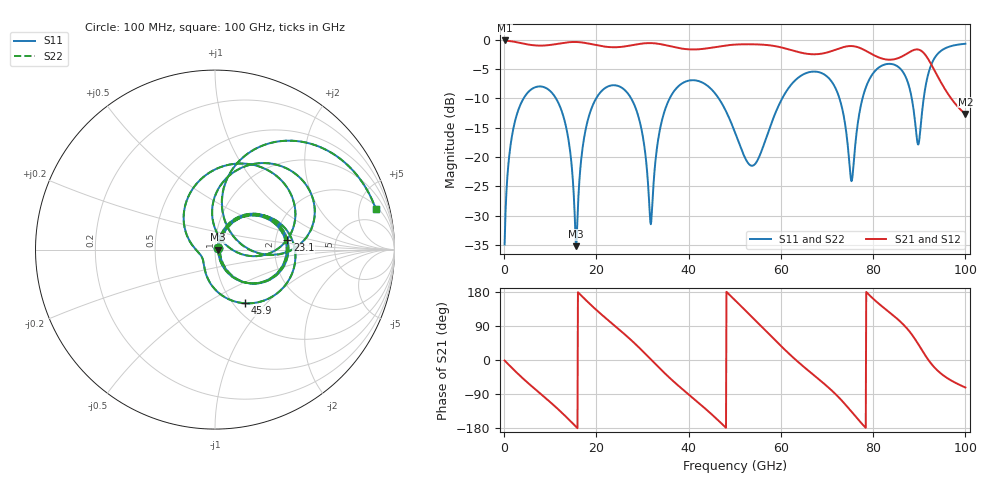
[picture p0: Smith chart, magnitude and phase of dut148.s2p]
! Touchstone file exported from HFSS 2026.1.0
!  File:  C:/ffzhzh/LocalFiles/Ansys_Project_Files/temp_train_TSV_RDL_148_1783644243_26216.aedt
!  Generated:  08:53:28 AM Jul 10, 2026
!  Design:  TSV_RDL
!  Project:  temp_train_TSV_RDL_148_1783644243_26216
! Variables:
!  h_bsmrdl = 3.84um
!  h_ox = 20um
!  h_rdl = 5um
!  h_sub = 85um
!  h_tmrdl = 3.3um
!  h_tsv = 85um
!  h_via = 3um
!  l_bsmrdl = 525.49um
!  l_sub = 3693.54um
!  l_tmrdl = 393.14um
!  m_sub = 200um
!  pitch = 44.65um
!  r_tsv = 10.71um
!  s_tmrdl = 10um
!  w_bsmrdl = 21.49um
!  w_sub = 500um
!  w_tmrdl = 26.68um
!  x_tsv_center1 = 406.48um
!  x_tsv_center2 = 953.46um
!  x_tsv_center3 = 1373.28um
!  x_tsv_center4 = 1920.26um
!  x_tsv_center5 = 2340.08um
!  x_tsv_center6 = 2887.06um
# GHz S MA R 50.000000
! Terminal data exported
! Port[1] = TM_RDL1_1_T1
! Port[2] = TM_RDL5_1_T1
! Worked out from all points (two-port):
!   1000 points, 100 MHz to 100 GHz, reference 50 ohm
!   highest |S21| = -0.13 dB at 100 MHz (marker M1); lowest = -12.7 dB at 100 GHz (marker M2)
!   |S21| within 3 dB of the highest: start of sweep to 81.58 GHz; 85.48 GHz to 91.79 GHz (6.307 GHz wide, 7.12 % of centre)
!   lowest |S11| = -35.2 dB at 15.6 GHz (marker M3), VSWR 1.04, Z = 51.8 - j0.018 ohm
!   |S11| at or under -10 dB: 11.22 GHz to 19.96 GHz (8.732 GHz wide, 56 % of centre); 27.52 GHz to 35.89 GHz (8.368 GHz wide, 26.4 % of centre); 46.51 GHz to 60.29 GHz (13.78 GHz wide, 25.8 % of centre) (the widest 3 of 6)
!   |S22| runs from -35.3 to -0.7 dB; largest |S21 - S12| = 9e-14
!   S11 on the Smith chart (normalised r, x): 100 MHz: 1.03, +0.02; 23.1 GHz: 2.32, +0.29; 45.9 GHz: 1.12, -0.76; 100 GHz: 2.31, +7.22
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0.1  0.01791 34.5  0.9854 -1.3  0.9854 -1.3  0.01791 34.5
! Gamma 0 0 0 0
! Port Impedance 50 0 50 0
2.4  0.2051 54.6  0.9575 -29.5  0.9575 -29.5  0.2051 54.6
7.5  0.3992 2.4  0.8908 -85.1  0.8908 -85.1  0.3992 2.4
12.9  0.218 -52.3  0.9401 -143.7  0.9401 -143.7  0.218 -52.3
15.6  0.01733 -0.6  0.9562 -176.3  0.9562 -176.3  0.01725 -0.4
16.8  0.103 67.5  0.9482 169.1  0.9482 169.1  0.103 67.6
23.1  0.4065 7.4  0.8638 99.3  0.8638 99.3  0.4064 7.5
28.8  0.242 -48.5  0.9132 38.1  0.9132 38.1  0.242 -48.2
31.8  0.02665 1.2  0.9356 1.7  0.9356 1.7  0.02791 1.7
33.4  0.1414 60.1  0.9235 -18.0  0.9235 -18.0  0.1419 59.7
39.3  0.4387 4.3  0.8323 -83.8  0.8323 -83.8  0.439 4.3
45.9  0.3417 -61.1  0.8672 -153.5  0.8672 -153.5  0.342 -61.0
50.1  0.1599 -105.9  0.9085 157.3  0.9085 157.3  0.1603 -105.5
56.7  0.141 164.0  0.9031 77.4  0.9031 77.4  0.141 164.4
61.4  0.374 107.2  0.8332 20.8  0.8332 20.8  0.3738 107.3
66.7  0.5334 53.6  0.752 -35.6  0.752 -35.6  0.5333 53.6
72.2  0.3586 1.7  0.8309 -94.3  0.8309 -94.3  0.3585 1.7
75.3  0.06214 39.9  0.8831 -136.2  0.8831 -136.2  0.06242 40.0
83.4  0.6226 36.5  0.6751 127.0  0.6751 127.0  0.6228 36.4
88.1  0.3575 -4.0  0.7929 71.9  0.7929 71.9  0.3574 -4.3
90.9  0.3035 82.2  0.7754 19.8  0.7754 19.8  0.3025 82.4
100  0.9237 14.3  0.232 -72.5  0.232 -72.5  0.9237 14.3
